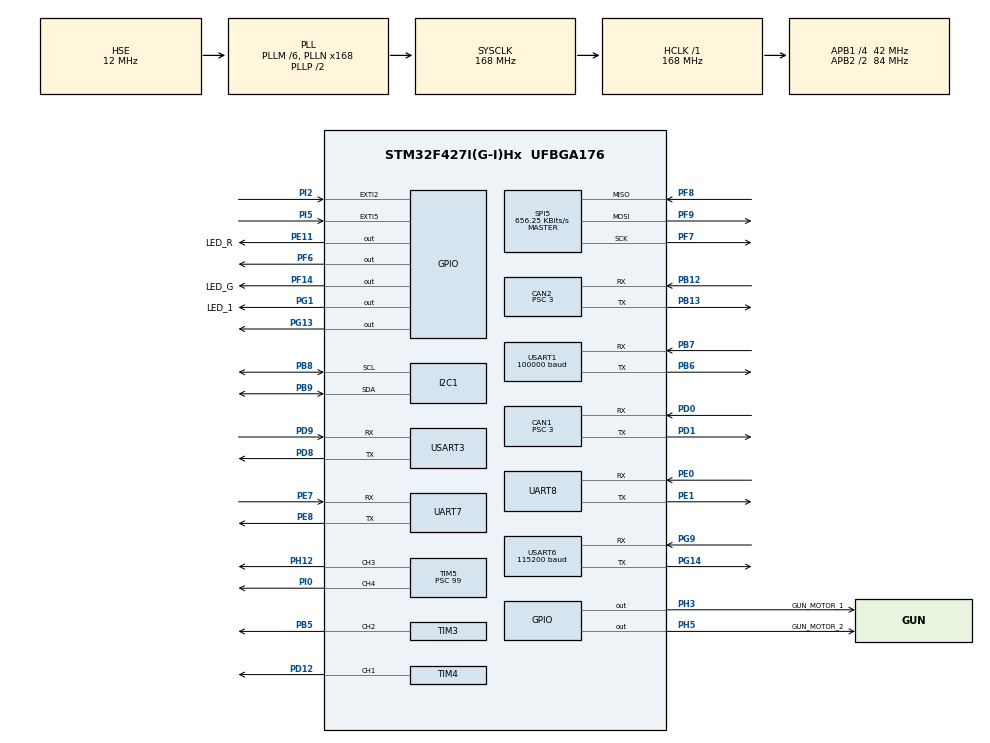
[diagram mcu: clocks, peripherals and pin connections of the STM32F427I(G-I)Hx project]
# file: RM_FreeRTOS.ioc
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CAN1.ABOM=ENABLE
CAN1.BS1=CAN_BS1_9TQ
CAN1.BS2=CAN_BS2_4TQ
CAN1.CalculateTimeQuantum=71.42857142857143
CAN1.Prescaler=3
CAN1.SJW=CAN_SJW_4TQ
CAN2.ABOM=ENABLE
CAN2.BS1=CAN_BS1_9TQ
CAN2.BS2=CAN_BS2_4TQ
CAN2.CalculateTimeQuantum=71.42857142857143
CAN2.Prescaler=3
CAN2.SJW=CAN_SJW_4TQ
Dma.Request0=USART1_RX
Dma.Request1=UART8_RX
Dma.Request2=UART7_RX
Dma.Request3=UART7_TX
Dma.Request4=UART8_TX
Dma.UART7_RX.2.Direction=DMA_PERIPH_TO_MEMORY
Dma.UART7_RX.2.FIFOMode=DMA_FIFOMODE_DISABLE
Dma.UART7_RX.2.Instance=DMA1_Stream3
Dma.UART7_RX.2.MemDataAlignment=DMA_MDATAALIGN_BYTE
Dma.UART7_RX.2.MemInc=DMA_MINC_ENABLE
Dma.UART7_RX.2.Mode=DMA_NORMAL
Dma.UART7_RX.2.PeriphDataAlignment=DMA_PDATAALIGN_BYTE
Dma.UART7_RX.2.PeriphInc=DMA_PINC_DISABLE
Dma.UART7_RX.2.Priority=DMA_PRIORITY_LOW
Dma.UART7_TX.3.Direction=DMA_MEMORY_TO_PERIPH
Dma.UART7_TX.3.FIFOMode=DMA_FIFOMODE_DISABLE
Dma.UART7_TX.3.Instance=DMA1_Stream1
Dma.UART7_TX.3.MemDataAlignment=DMA_MDATAALIGN_BYTE
Dma.UART7_TX.3.MemInc=DMA_MINC_ENABLE
Dma.UART7_TX.3.Mode=DMA_NORMAL
Dma.UART7_TX.3.PeriphDataAlignment=DMA_PDATAALIGN_BYTE
Dma.UART7_TX.3.PeriphInc=DMA_PINC_DISABLE
Dma.UART7_TX.3.Priority=DMA_PRIORITY_LOW
Dma.UART8_RX.1.Direction=DMA_PERIPH_TO_MEMORY
Dma.UART8_RX.1.FIFOMode=DMA_FIFOMODE_DISABLE
Dma.UART8_RX.1.Instance=DMA1_Stream6
Dma.UART8_RX.1.MemDataAlignment=DMA_MDATAALIGN_BYTE
Dma.UART8_RX.1.MemInc=DMA_MINC_ENABLE
Dma.UART8_RX.1.Mode=DMA_CIRCULAR
Dma.UART8_RX.1.PeriphDataAlignment=DMA_PDATAALIGN_BYTE
Dma.UART8_RX.1.PeriphInc=DMA_PINC_DISABLE
Dma.UART8_RX.1.Priority=DMA_PRIORITY_LOW
Dma.UART8_TX.4.Direction=DMA_MEMORY_TO_PERIPH
Dma.UART8_TX.4.FIFOMode=DMA_FIFOMODE_DISABLE
Dma.UART8_TX.4.Instance=DMA1_Stream0
Dma.UART8_TX.4.MemDataAlignment=DMA_MDATAALIGN_BYTE
Dma.UART8_TX.4.MemInc=DMA_MINC_ENABLE
Dma.UART8_TX.4.Mode=DMA_NORMAL
Dma.UART8_TX.4.PeriphDataAlignment=DMA_PDATAALIGN_BYTE
Dma.UART8_TX.4.PeriphInc=DMA_PINC_DISABLE
Dma.UART8_TX.4.Priority=DMA_PRIORITY_LOW
Dma.USART1_RX.0.Direction=DMA_PERIPH_TO_MEMORY
Dma.USART1_RX.0.FIFOMode=DMA_FIFOMODE_DISABLE
Dma.USART1_RX.0.Instance=DMA2_Stream2
Dma.USART1_RX.0.MemDataAlignment=DMA_MDATAALIGN_BYTE
Dma.USART1_RX.0.MemInc=DMA_MINC_ENABLE
Dma.USART1_RX.0.Mode=DMA_CIRCULAR
Dma.USART1_RX.0.PeriphDataAlignment=DMA_PDATAALIGN_BYTE
Dma.USART1_RX.0.PeriphInc=DMA_PINC_DISABLE
Dma.USART1_RX.0.Priority=DMA_PRIORITY_LOW
FREERTOS.Tasks01=TASK_10ms,24,128,Task_10ms,Default,NULL,Dynamic,NULL,NULL;sendData,24,128,StartSendData,Default,NULL,Dynamic,NULL,NULL;TASK_500ms,24,128,Task_500ms,Default,NULL,Dynamic,NULL,NULL;TASK_Chassis,24,128,Task_Chassis,As external,NULL,Dynamic,NULL,NULL;TASK_Gimbal,24,128,Task_Gimbal,As external,NULL,Dynamic,NULL,NULL;TASK_Shoot,24,128,Task_Shoot,As external,NULL,Dynamic,NULL,NULL;TASK_InfoUpdate,40,128,Task_InfoUpdate,As external,NULL,Dynamic,NULL,NULL
Mcu.Family=STM32F4
Mcu.Name=STM32F427I(G-I)Hx
Mcu.Package=UFBGA176
NVIC.CAN1_RX0_IRQn=true\:5\:0\:false\:false\:true\:true\:true\:true
NVIC.CAN1_TX_IRQn=true\:5\:0\:true\:false\:true\:true\:true\:true
NVIC.CAN2_RX0_IRQn=true\:5\:0\:false\:false\:true\:true\:true\:true
NVIC.CAN2_TX_IRQn=true\:5\:0\:false\:false\:true\:true\:true\:true
NVIC.DMA1_Stream0_IRQn=true\:0\:0\:false\:false\:true\:true\:false\:true
NVIC.DMA1_Stream1_IRQn=true\:0\:0\:true\:false\:true\:true\:false\:true
NVIC.DMA1_Stream3_IRQn=true\:0\:0\:true\:false\:true\:true\:false\:true
NVIC.DMA1_Stream6_IRQn=true\:0\:0\:false\:false\:true\:true\:false\:true
NVIC.DMA2_Stream2_IRQn=true\:5\:0\:true\:false\:true\:true\:false\:true
NVIC.EXTI2_IRQn=true\:0\:0\:false\:false\:true\:false\:true\:true
NVIC.EXTI9_5_IRQn=true\:0\:0\:false\:false\:true\:false\:true\:true
NVIC.I2C1_EV_IRQn=true\:5\:0\:false\:false\:true\:true\:true\:true
NVIC.PriorityGroup=NVIC_PRIORITYGROUP_4
NVIC.TIM6_DAC_IRQn=true\:0\:0\:false\:false\:true\:false\:false\:true
NVIC.TimeBase=TIM6_DAC_IRQn
NVIC.TimeBaseIP=TIM6
NVIC.UART7_IRQn=true\:1\:0\:true\:false\:true\:false\:true\:true
NVIC.UART8_IRQn=true\:6\:0\:true\:false\:true\:true\:true\:true
NVIC.USART1_IRQn=true\:5\:0\:true\:false\:true\:true\:true\:true
NVIC.USART3_IRQn=true\:5\:0\:true\:false\:true\:false\:true\:true
NVIC.USART6_IRQn=true\:5\:0\:true\:false\:true\:true\:true\:true
PA13.Mode=Serial_Wire
PA13.Signal=SYS_JTMS-SWDIO
PA14.Mode=Serial_Wire
PA14.Signal=SYS_JTCK-SWCLK
PB12.Mode=Slave
PB12.Signal=CAN2_RX
PB13.Mode=Slave
PB13.Signal=CAN2_TX
PB5.Signal=S_TIM3_CH2
PB6.Mode=Asynchronous
PB6.Signal=USART1_TX
PB7.Mode=Asynchronous
PB7.Signal=USART1_RX
PB8.Mode=I2C
PB8.Signal=I2C1_SCL
PB9.Mode=I2C
PB9.Signal=I2C1_SDA
PC14/OSC32_IN.Mode=LSE-External-Oscillator
PC14/OSC32_IN.Signal=RCC_OSC32_IN
PC15/OSC32_OUT.Mode=LSE-External-Oscillator
PC15/OSC32_OUT.Signal=RCC_OSC32_OUT
PD0.Mode=Master
PD0.Signal=CAN1_RX
PD1.Mode=Master
PD1.Signal=CAN1_TX
PD12.Signal=S_TIM4_CH1
PD8.Mode=Asynchronous
PD8.Signal=USART3_TX
PD9.Mode=Asynchronous
PD9.Signal=USART3_RX
PE0.Mode=Asynchronous
PE0.Signal=UART8_RX
PE1.Mode=Asynchronous
PE1.Signal=UART8_TX
PE11.GPIO_Label=LED_R
PE11.GPIO_ModeDefaultOutputPP=GPIO_MODE_OUTPUT_PP
PE11.GPIO_Speed=GPIO_SPEED_FREQ_HIGH
PE11.Signal=GPIO_Output
PE7.Mode=Asynchronous
PE7.Signal=UART7_RX
PE8.Mode=Asynchronous
PE8.Signal=UART7_TX
PF14.GPIO_Label=LED_G
PF14.GPIO_Speed=GPIO_SPEED_FREQ_HIGH
PF14.Signal=GPIO_Output
PF6.Signal=GPIO_Output
PF7.Mode=Full_Duplex_Master
PF7.Signal=SPI5_SCK
PF8.Mode=Full_Duplex_Master
PF8.Signal=SPI5_MISO
PF9.Mode=Full_Duplex_Master
PF9.Signal=SPI5_MOSI
PG1.GPIO_Label=LED_1
PG1.Signal=GPIO_Output
PG13.GPIO_PuPd=GPIO_PULLDOWN
PG13.Signal=GPIO_Output
PG14.Mode=Asynchronous
PG14.Signal=USART6_TX
PG9.Mode=Asynchronous
PG9.Signal=USART6_RX
PH0/OSC_IN.Mode=HSE-External-Oscillator
PH0/OSC_IN.Signal=RCC_OSC_IN
PH1/OSC_OUT.Mode=HSE-External-Oscillator
PH1/OSC_OUT.Signal=RCC_OSC_OUT
PH12.Signal=S_TIM5_CH3
PH3.GPIO_Label=GUN_MOTOR_1
PH3.Signal=GPIO_Output
PH5.GPIO_Label=GUN_MOTOR_2
PH5.Signal=GPIO_Output
PI0.Signal=S_TIM5_CH4
PI2.GPIO_ModeDefaultEXTI=GPIO_MODE_IT_FALLING
PI2.GPIO_PuPd=GPIO_PULLUP
PI2.Signal=GPXTI2
PI5.GPIO_ModeDefaultEXTI=GPIO_MODE_IT_FALLING
PI5.GPIO_PuPd=GPIO_PULLUP
PI5.Signal=GPXTI5
ProjectManager.HeapSize=0x200
ProjectManager.StackSize=0x400
ProjectManager.TargetToolchain=MDK-ARM V5.27
RCC.48MHZClocksFreq_Value=84000000
RCC.AHBFreq_Value=168000000
RCC.APB1CLKDivider=RCC_HCLK_DIV4
RCC.APB1Freq_Value=42000000
RCC.APB1TimFreq_Value=84000000
RCC.APB2CLKDivider=RCC_HCLK_DIV2
RCC.APB2Freq_Value=84000000
RCC.APB2TimFreq_Value=168000000
RCC.CortexFreq_Value=168000000
RCC.HCLKFreq_Value=168000000
RCC.HSE_VALUE=12000000
RCC.HSI_VALUE=16000000
RCC.PLLM=6
RCC.PLLN=168
RCC.PLLSourceVirtual=RCC_PLLSOURCE_HSE
RCC.SYSCLKFreq_VALUE=168000000
RCC.SYSCLKSource=RCC_SYSCLKSOURCE_PLLCLK
RCC.VCOOutputFreq_Value=336000000
SH.S_TIM3_CH2.0=TIM3_CH2,PWM Generation2 CH2
SH.S_TIM4_CH1.0=TIM4_CH1,PWM Generation1 CH1
SH.S_TIM5_CH3.0=TIM5_CH3,PWM Generation3 CH3
SH.S_TIM5_CH4.0=TIM5_CH4,PWM Generation4 CH4
SPI5.BaudRatePrescaler=SPI_BAUDRATEPRESCALER_128
SPI5.CalculateBaudRate=656.25 KBits/s
SPI5.Direction=SPI_DIRECTION_2LINES
SPI5.Mode=SPI_MODE_MASTER
SPI5.VirtualType=VM_MASTER
TIM3.Channel-PWM\ Generation2\ CH2=TIM_CHANNEL_2
TIM3.Period=19999
TIM3.Prescaler=4199
TIM4.Channel-PWM\ Generation1\ CH1=TIM_CHANNEL_1
TIM4.ClockDivision=TIM_CLOCKDIVISION_DIV1
TIM4.Period=1999
TIM4.Prescaler=99
TIM5.Channel-PWM\ Generation3\ CH3=TIM_CHANNEL_3
TIM5.Channel-PWM\ Generation4\ CH4=TIM_CHANNEL_4
TIM5.ClockDivision=TIM_CLOCKDIVISION_DIV1
TIM5.Period=1999
TIM5.Prescaler=99
TIM5.Pulse-PWM\ Generation3\ CH3=0
UART7.VirtualMode=Asynchronous
UART8.VirtualMode=Asynchronous
USART1.BaudRate=100000
USART1.Mode=MODE_RX
USART1.Parity=PARITY_EVEN
USART1.VirtualMode=VM_ASYNC
USART3.OverSampling=UART_OVERSAMPLING_16
USART3.VirtualMode=VM_ASYNC
USART6.BaudRate=115200
USART6.OverSampling=UART_OVERSAMPLING_8
USART6.VirtualMode=VM_ASYNC
VP_FREERTOS_VS_CMSIS_V2.Mode=CMSIS_V2
VP_SYS_VS_tim6.Mode=TIM6
VP_TIM3_VS_ClockSourceINT.Mode=Internal
VP_TIM4_VS_ClockSourceINT.Mode=Internal
VP_TIM5_VS_ClockSourceINT.Mode=Internal
board=custom

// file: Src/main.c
/* USER CODE BEGIN Header */
/**
  ******************************************************************************
  * @file           : main.c
  * @brief          : Main program body
  ******************************************************************************
  * @attention
  *
  * <h2><center>&copy; Copyright (c) 2020 STMicroelectronics.
  * All rights reserved.</center></h2>
  *
  * This software component is licensed by ST under BSD 3-Clause license,
  * the "License"; You may not use this file except in compliance with the
  * License. You may obtain a copy of the License at:
  *                        opensource.org/licenses/BSD-3-Clause
  *
  ******************************************************************************
  */
/* USER CODE END Header */
#include "main.h"
#include "cmsis_os.h"
#include "can.h"
#include "dma.h"
#include "i2c.h"
#include "spi.h"
#include "tim.h"
#include "usart.h"
#include "gpio.h"

/* USER CODE BEGIN Includes */
#include "System.h"
#include "./remote_control/remote_control.h"
#include "Vision.h"
#include "Task_InfoUpdate.h"
#include "Task_Gimbal.h"
#include "Visual_Scope.h"
#include "./ANO_DT/ANO_DT.h"
#include "./judge/judge.h"
#include "stdlib.h"
/* USER CODE END Includes */

/* USER CODE BEGIN PV */
uint8_t ano_data_rec;
extern volatile uint8_t rx_len;//���յ������ݳ���
extern volatile uint8_t recv_end_flag; //������ɱ�־�?
extern uint8_t ReadFromUsart[200]; //���ݻ�������
/* USER CODE END PV */

void SystemClock_Config(void);
void MX_FREERTOS_Init(void);

/* USER CODE BEGIN 0 */
uint8_t originData[5] = {0}; //Debug串口接收到的原始数据
uint8_t DebugRevFlag;
//裁判系统
//uint8_t JudgeTemp[50];
uint8_t UART6_temp[VISION_RX_LENGTH];
/* USER CODE END 0 */

int main(void)
{

  /* MCU Configuration--------------------------------------------------------*/

  /* Reset of all peripherals, Initializes the Flash interface and the Systick. */
  HAL_Init();

  /* Configure the system clock */
  SystemClock_Config();

  /* Initialize all configured peripherals */
  MX_GPIO_Init();
  MX_USART6_UART_Init();
  MX_CAN1_Init();
  MX_DMA_Init();
  MX_USART1_UART_Init();
  MX_SPI5_Init();
  MX_TIM5_Init();
  MX_TIM3_Init();
  MX_TIM4_Init();
  MX_CAN2_Init();
  MX_UART7_Init();
  MX_USART3_UART_Init();
  MX_UART8_Init();
  MX_I2C1_Init();
  /* USER CODE BEGIN 2 */

  //系统初始�??
  system_Init();
  HAL_UART_Receive_IT(&huart6, (uint8_t *)UART6_temp, VISION_RX_LENGTH);
  //HAL_UART_Receive_ IT(&huart6, (uint8_t *)UART6_temp, VISION_LENGTH); //视觉串口
  HAL_UART_Receive_IT(&huart7, &ano_data_rec, 1); //串口7-匿名上位�??
  //HAL_UART_Receive_IT(&huart8, JudgeTemp, 50);
	__HAL_UART_ENABLE_IT(&huart8, UART_IT_IDLE);
  HAL_UART_Receive_DMA(&huart8,ReadFromUsart,200);
  /* USER CODE END 2 */

  /* Init scheduler */
  osKernelInitialize();  /* Call init function for freertos objects (in freertos.c) */
  MX_FREERTOS_Init();
  /* Start scheduler */
  osKernelStart();

  /* We should never get here as control is now taken by the scheduler */
  /* Infinite loop */
  while (1)
  {

  }
}

void SystemClock_Config(void)
{
  RCC_OscInitTypeDef RCC_OscInitStruct = {0};
  RCC_ClkInitTypeDef RCC_ClkInitStruct = {0};

  /** Configure the main internal regulator output voltage
  */
  __HAL_RCC_PWR_CLK_ENABLE();
  __HAL_PWR_VOLTAGESCALING_CONFIG(PWR_REGULATOR_VOLTAGE_SCALE1);
  /** Initializes the RCC Oscillators according to the specified parameters
  * in the RCC_OscInitTypeDef structure.
  */
  RCC_OscInitStruct.OscillatorType = RCC_OSCILLATORTYPE_HSE;
  RCC_OscInitStruct.HSEState = RCC_HSE_ON;
  RCC_OscInitStruct.PLL.PLLState = RCC_PLL_ON;
  RCC_OscInitStruct.PLL.PLLSource = RCC_PLLSOURCE_HSE;
  RCC_OscInitStruct.PLL.PLLM = 6;
  RCC_OscInitStruct.PLL.PLLN = 168;
  RCC_OscInitStruct.PLL.PLLP = RCC_PLLP_DIV2;
  RCC_OscInitStruct.PLL.PLLQ = 4;
  if (HAL_RCC_OscConfig(&RCC_OscInitStruct) != HAL_OK)
  {
    Error_Handler();
  }
  /** Initializes the CPU, AHB and APB buses clocks
  */
  RCC_ClkInitStruct.ClockType = RCC_CLOCKTYPE_HCLK|RCC_CLOCKTYPE_SYSCLK
                              |RCC_CLOCKTYPE_PCLK1|RCC_CLOCKTYPE_PCLK2;
  RCC_ClkInitStruct.SYSCLKSource = RCC_SYSCLKSOURCE_PLLCLK;
  RCC_ClkInitStruct.AHBCLKDivider = RCC_SYSCLK_DIV1;
  RCC_ClkInitStruct.APB1CLKDivider = RCC_HCLK_DIV4;
  RCC_ClkInitStruct.APB2CLKDivider = RCC_HCLK_DIV2;

  if (HAL_RCC_ClockConfig(&RCC_ClkInitStruct, FLASH_LATENCY_5) != HAL_OK)
  {
    Error_Handler();
  }
}

/* USER CODE BEGIN 4 */
void HAL_UART_RxCpltCallback(UART_HandleTypeDef *huart)
{
  UNUSED(huart);

  if (huart->Instance == USART3)
  {
  }

  if (huart->Instance == USART6)
  {
    Vision_Read_Data(UART6_temp);
     HAL_UART_Receive_IT(&huart6, (uint8_t *)UART6_temp, VISION_RX_LENGTH);
//    HAL_UART_Receive_DMA(&huart6, (uint8_t *)UART6_temp, VISION_RX_LENGTH);
  }
  if (huart->Instance == UART7)
  {
    ANO_DT_Data_Receive_Prepare(ano_data_rec);
    HAL_UART_Receive_IT(&huart7, &ano_data_rec, 1);
  }
}
int fputc(int ch, FILE *f)
{
  HAL_UART_Transmit(&huart8, (uint8_t *)&ch, 1, 0xFF);
  return ch;
}
int fgetc(FILE *f)
{
  uint8_t ch;
  HAL_UART_Receive(&huart1, (uint8_t *)&ch, 1, 0xFFFF);
  return ch;
}
/* USER CODE END 4 */

void HAL_TIM_PeriodElapsedCallback(TIM_HandleTypeDef *htim)
{
  if (htim->Instance == TIM6) {
    HAL_IncTick();
  }
}

void Error_Handler(void)
{
}

/************************ (C) COPYRIGHT STMicroelectronics *****END OF FILE****/

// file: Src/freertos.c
/* USER CODE BEGIN Header */
/**
  ******************************************************************************
  * File Name          : freertos.c
  * Description        : Code for freertos applications
  ******************************************************************************
  * @attention
  *
  * <h2><center>&copy; Copyright (c) 2020 STMicroelectronics.
  * All rights reserved.</center></h2>
  *
  * This software component is licensed by ST under Ultimate Liberty license
  * SLA0044, the "License"; You may not use this file except in compliance with
  * the License. You may obtain a copy of the License at:
  *                             www.st.com/SLA0044
  *
  ******************************************************************************
  */
/* USER CODE END Header */

#include "FreeRTOS.h"
#include "task.h"
#include "main.h"
#include "cmsis_os.h"

/* USER CODE BEGIN Includes */

#include "./ANO_DT/ANO_DT.h"
#include "Task_Chassis.h"
#include "Task_Gimbal.h"
#include "Task_Shoot.h"
#include "Task_InfoUpdate.h"
#include "System.h"
#include "./remote_control/remote_control.h"
#include "Robo_config.h"
#include "Visual_Scope.h"
#include "Vision.h"
#include "can_receive.h"
/* USER CODE END Includes */

/* USER CODE BEGIN Variables */
extern ROBO_STATUS roboStatus;
/* USER CODE END Variables */
/* Definitions for TASK_10ms */
osThreadId_t TASK_10msHandle;
const osThreadAttr_t TASK_10ms_attributes = {
  .name = "TASK_10ms",
  .priority = (osPriority_t) osPriorityNormal,
  .stack_size = 128 * 4
};
/* Definitions for sendData */
osThreadId_t sendDataHandle;
const osThreadAttr_t sendData_attributes = {
  .name = "sendData",
  .priority = (osPriority_t) osPriorityNormal,
  .stack_size = 128 * 4
};
/* Definitions for TASK_500ms */
osThreadId_t TASK_500msHandle;
const osThreadAttr_t TASK_500ms_attributes = {
  .name = "TASK_500ms",
  .priority = (osPriority_t) osPriorityNormal,
  .stack_size = 128 * 4
};
/* Definitions for TASK_Chassis */
osThreadId_t TASK_ChassisHandle;
const osThreadAttr_t TASK_Chassis_attributes = {
  .name = "TASK_Chassis",
  .priority = (osPriority_t) osPriorityNormal,
  .stack_size = 128 * 4
};
/* Definitions for TASK_Gimbal */
osThreadId_t TASK_GimbalHandle;
const osThreadAttr_t TASK_Gimbal_attributes = {
  .name = "TASK_Gimbal",
  .priority = (osPriority_t) osPriorityNormal,
  .stack_size = 128 * 4
};
/* Definitions for TASK_Shoot */
osThreadId_t TASK_ShootHandle;
const osThreadAttr_t TASK_Shoot_attributes = {
  .name = "TASK_Shoot",
  .priority = (osPriority_t) osPriorityNormal,
  .stack_size = 128 * 4
};
/* Definitions for TASK_InfoUpdate */
osThreadId_t TASK_InfoUpdateHandle;
const osThreadAttr_t TASK_InfoUpdate_attributes = {
  .name = "TASK_InfoUpdate",
  .priority = (osPriority_t) osPriorityHigh,
  .stack_size = 128 * 4
};

void Task_10ms(void *argument);
void StartSendData(void *argument);
void Task_500ms(void *argument);
extern void Task_Chassis(void *argument);
extern void Task_Gimbal(void *argument);
extern void Task_Shoot(void *argument);
extern void Task_InfoUpdate(void *argument);

void MX_FREERTOS_Init(void); /* (MISRA C 2004 rule 8.1) */

void MX_FREERTOS_Init(void) {

  /* Create the thread(s) */
  /* creation of TASK_10ms */
  TASK_10msHandle = osThreadNew(Task_10ms, NULL, &TASK_10ms_attributes);

  /* creation of sendData */
  sendDataHandle = osThreadNew(StartSendData, NULL, &sendData_attributes);

  /* creation of TASK_500ms */
  TASK_500msHandle = osThreadNew(Task_500ms, NULL, &TASK_500ms_attributes);

  /* creation of TASK_Chassis */
  TASK_ChassisHandle = osThreadNew(Task_Chassis, NULL, &TASK_Chassis_attributes);

  /* creation of TASK_Gimbal */
  TASK_GimbalHandle = osThreadNew(Task_Gimbal, NULL, &TASK_Gimbal_attributes);

  /* creation of TASK_Shoot */
  TASK_ShootHandle = osThreadNew(Task_Shoot, NULL, &TASK_Shoot_attributes);

  /* creation of TASK_InfoUpdate */
  TASK_InfoUpdateHandle = osThreadNew(Task_InfoUpdate, NULL, &TASK_InfoUpdate_attributes);

}

void Task_10ms(void *argument)
{
  /* USER CODE BEGIN Task_10ms */
  /* Infinite loop */
  for(;;)
  {
		if(roboStatus.control_mode == Disable_mode){
			system_disable();
		}
		else{
			system_enable();
		}

		//10ms
		osDelay(10);
  }
  /* USER CODE END Task_10ms */
}

void StartSendData(void *argument)
{
  /* USER CODE BEGIN StartSendData */
  /* Infinite loop */
  for(;;)
  {
//		 ANO_DT_Display(moto_chassis[0].speed_rpm,
//					-moto_chassis[1].speed_rpm,
//					moto_chassis[2].speed_rpm,
//					-moto_chassis[3].speed_rpm,
//					set_spd[0],
//					-set_spd[1],
//					set_spd[2],
//					-set_spd[3],0);
				 ANO_DT_Display(
					VisionRecvData.time,
					cur_pit[GIMBAL_Below]*100,
				  set_pit[GIMBAL_Below]*100,
					VisionRecvData.yaw_angle*100,
					cur_yaw[GIMBAL_Below]*100, //5
					(cur_yaw[GIMBAL_Below]+VisionRecvData.yaw_angle)*100,
					set_yaw[GIMBAL_Below]*100,
					(cur_pit[GIMBAL_Below]+VisionRecvData.pitch_angle)*100,
					0);
		//ANO_DT_Send_Udata(moto_chassis[3].angle,moto_chassis[3].speed_rpm,4,5,6,7,8,9,0);
		//VisualDisplay(mpu_data.yaw, mpu_data.pitch, mpu_data.roll, 0);  //bug待修 坐标VisualScope_Output串口发�?�处
		osDelay(10);
  }
  /* USER CODE END StartSendData */
}

void Task_500ms(void *argument)
{
  /* USER CODE BEGIN Task_500ms */
  /* Infinite loop */
	uint8_t SendData[VISION_TX_LENGTH];
  for(;;)
  {
			VisionSendData.SOF = 0xA5;
			VisionSendData.CmdID = 0x01;
			//memcpy(&VisionSendData.yaw_angle, &cur_yaw[GIMBAL_Below], 4);
//			memcpy(&VisionSendData.pitch_angle, &cur_pit[GIMBAL_Below], 4);
		  VisionSendData.yaw_angle = cur_yaw[GIMBAL_Below];
			VisionSendData.pitch_angle = cur_pit[GIMBAL_Below];
			VisionSendData.yaw_speed = moto_yaw[GIMBAL_Below].speed_rpm;
			VisionSendData.pitch_speed = moto_pit[GIMBAL_Below].speed_rpm;
			VisionSendData.target_mode = 0; //����ģʽ{ 0:��ͨ���� 1:���� 2:��������}
			//Ԥ��
			VisionSendData.blank_a = 0;
			VisionSendData.blank_b = 0;
			VisionSendData.blank_c= 0;
			VisionSendData.blank_e= 0;
			VisionSendData.blank_f= 0;
			VisionSendData.TOF = 0xA6;
			memcpy(SendData, &VisionSendData, VISION_TX_LENGTH);
			HAL_UART_Transmit(&huart6, SendData, VISION_TX_LENGTH, 0xFF);
			//1ms
			osDelay(1);
  }
  /* USER CODE END Task_500ms */
}

/************************ (C) COPYRIGHT STMicroelectronics *****END OF FILE****/
